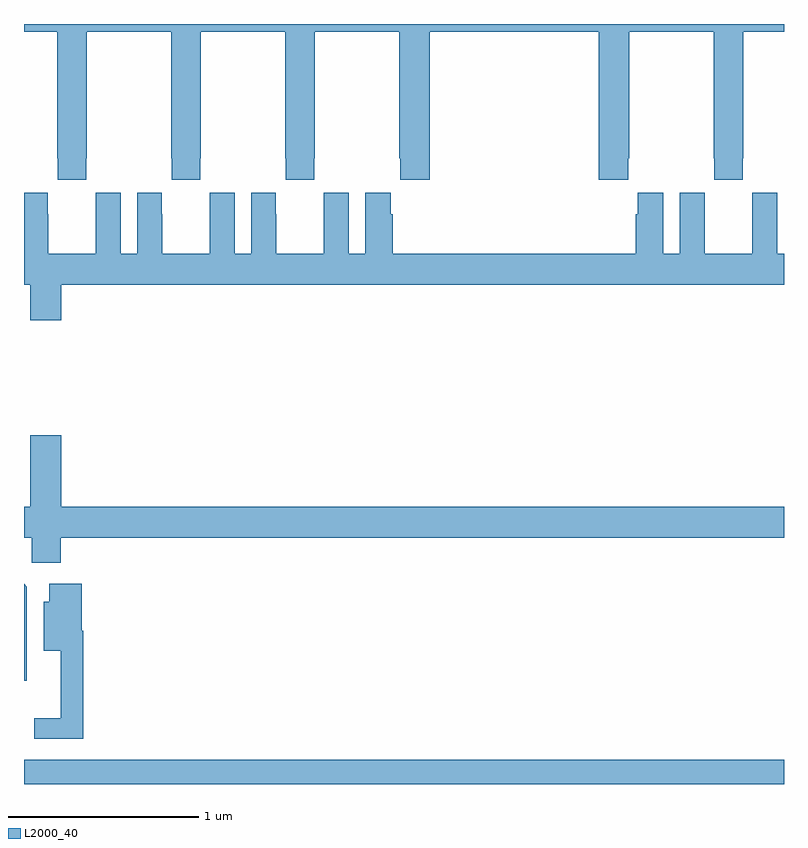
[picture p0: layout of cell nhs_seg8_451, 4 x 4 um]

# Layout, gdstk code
import gdstk
lib = gdstk.Library(unit=1e-6, precision=1e-09)
def R(c, l, rs):  # rectangles x0, y0, x1, y1
    for r in rs: c.add(gdstk.rectangle(r[:2], r[2:], *l))
def P(c, l, *ps):  # polygons
    for p in ps: c.add(gdstk.Polygon(p, *l))
L2000_40 = (2000, 40)

nhs_seg8_451 = lib.new_cell('nhs_seg8_451')
R(nhs_seg8_451, L2000_40, [(141,1085.9,145,1086.028)])
P(nhs_seg8_451, L2000_40, [(144.026,1089.081),(144.179,1089.081),(144.179,1089.193),(144.186,1089.193),(144.186,1089.86),(144.631,1089.86),(144.631,1089.193),(144.633,1089.193),(144.633,1089.081),(144.783,1089.081),(144.783,1089.193),(144.786,1089.193),(144.786,1089.86),(145,1089.86),(145,1089.9),(141,1089.9),(141,1089.86),(141.175,1089.86),(141.175,1089.193),(141.177,1089.193),(141.177,1089.081),(141.327,1089.081),(141.327,1089.193),(141.33,1089.193),(141.33,1089.86),(141.775,1089.86),(141.775,1089.193),(141.777,1089.193),(141.777,1089.081),(141.927,1089.081),(141.927,1089.193),(141.93,1089.193),(141.93,1089.86),(142.375,1089.86),(142.375,1089.193),(142.377,1089.193),(142.377,1089.081),(142.527,1089.081),(142.527,1089.193),(142.53,1089.193),(142.53,1089.86),(142.975,1089.86),(142.975,1089.193),(142.981,1089.193),(142.981,1089.081),(143.135,1089.081),(143.135,1089.86),(144.026,1089.86)],
  [(141.127,1088.9),(141.126,1088.9),(141.126,1089.013),(141,1089.013),(141,1088.528),(141.032,1088.528),(141.032,1088.34),(141.196,1088.34),(141.196,1088.528),(145,1088.528),(145,1088.692),(144.964,1088.692),(144.964,1089.013),(144.834,1089.013),(144.834,1088.9),(144.833,1088.9),(144.833,1088.692),(144.583,1088.692),(144.583,1088.9),(144.582,1088.9),(144.582,1089.013),(144.452,1089.013),(144.452,1088.692),(144.364,1088.692),(144.364,1089.013),(144.23,1089.013),(144.23,1088.9),(144.221,1088.9),(144.221,1088.692),(142.94,1088.692),(142.94,1088.9),(142.93,1088.9),(142.93,1089.013),(142.796,1089.013),(142.796,1088.692),(142.708,1088.692),(142.708,1089.013),(142.578,1089.013),(142.578,1088.9),(142.577,1088.9),(142.577,1088.692),(142.327,1088.692),(142.327,1088.9),(142.326,1088.9),(142.326,1089.013),(142.196,1089.013),(142.196,1088.692),(142.108,1088.692),(142.108,1089.013),(141.978,1089.013),(141.978,1088.9),(141.977,1088.9),(141.977,1088.692),(141.727,1088.692),(141.727,1088.9),(141.726,1088.9),(141.726,1089.013),(141.596,1089.013),(141.596,1088.692),(141.508,1088.692),(141.508,1089.013),(141.378,1089.013),(141.378,1088.9),(141.377,1088.9),(141.377,1088.692),(141.127,1088.692)],
  [(141.194,1087.196),(145,1087.196),(145,1087.36),(141.196,1087.36),(141.196,1087.735),(141.032,1087.735),(141.032,1087.36),(141,1087.36),(141,1087.196),(141.042,1087.196),(141.042,1087.065),(141.194,1087.065)],
  [(141.311,1086.706),(141.305,1086.706),(141.305,1086.955),(141.134,1086.955),(141.134,1086.859),(141.104,1086.859),(141.104,1086.602),(141.194,1086.602),(141.194,1086.247),(141.054,1086.247),(141.054,1086.138),(141.311,1086.138)],
  [(141.015,1086.939),(141,1086.954),(141,1086.444),(141.015,1086.444)])

lib.write_gds('nhs_seg8_451.gds')
